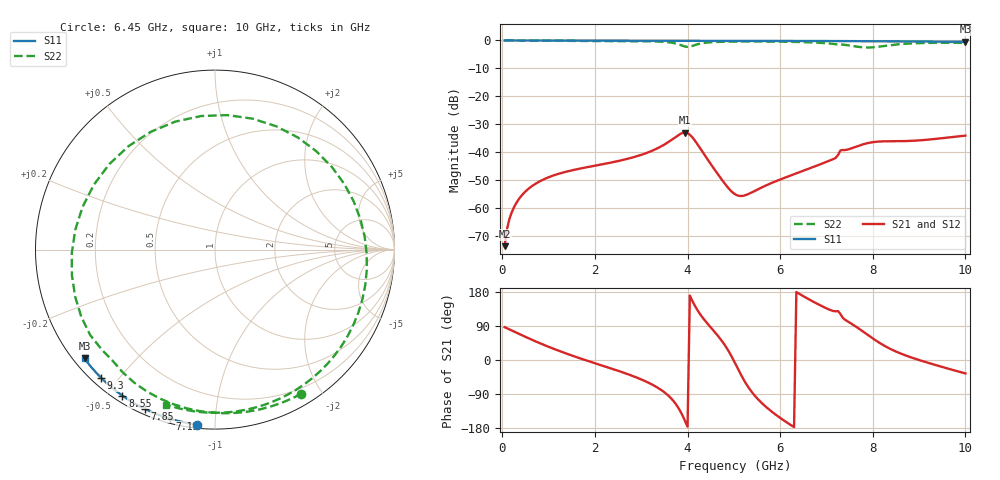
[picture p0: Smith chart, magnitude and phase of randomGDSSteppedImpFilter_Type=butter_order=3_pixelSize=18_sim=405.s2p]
! freq	dB(S11)	phase(S11)	dB(S12)	phase(S12)
!  dB(S21)	phase(S21)	dB(S22)	phase(S22)
!S-par simulation data
#  GHz  S  DB  R 50
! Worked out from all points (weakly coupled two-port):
!   200 points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, 50 MHz to 10 GHz, reference 50 ohm
!   highest |S21| = -33.05 dB at 3.95 GHz (marker M1); lowest = -73.8 dB at 50 MHz (marker M2)
!   lowest |S11| = -0.5 dB at 10 GHz (marker M3), VSWR 36.60, Z = 1.55 - j18.1 ohm
!   |S11| at or under -10 dB: nowhere
!   |S22| runs from -2.5 to 0.0 dB; largest |S21 - S12| = 0
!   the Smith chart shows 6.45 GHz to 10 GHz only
!   S11 on the Smith chart (normalised r, x): 6.45 GHz: 0.02, -0.90; 7.15 GHz: 0.02, -0.77; 7.85 GHz: 0.02, -0.65; 8.55 GHz: 0.02, -0.55; 9.3 GHz: 0.03, -0.45; 10 GHz: 0.03, -0.36
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0.05  -0.00 -0.8  -73.81 86.6  -73.81 86.6  -0.00 -5.1
0.3  -0.01 -4.9  -58.39 72.4  -58.39 72.4  -0.04 -30.3
0.85  -0.02 -13.7  -50.19 42.4  -50.19 42.4  -0.10 -82.3
1.75  -0.04 -28.0  -45.73 1.5  -45.73 1.5  -0.15 -155.2
2.55  -0.05 -40.4  -43.09 -30.5  -43.09 -30.5  -0.20 146.8
3.4  -0.07 -53.3  -38.28 -76.5  -38.28 -76.5  -0.42 71.2
3.75  -0.08 -58.4  -34.53 -116.7  -34.53 -116.7  -1.12 5.9
3.95  -0.09 -61.3  -33.05 -161.9  -33.05 -161.9  -2.21 -78.5
4.1  -0.09 -63.5  -34.67 157.1  -34.67 157.1  -1.98 -158.9
4.2  -0.09 -64.9  -36.89 134.4  -36.89 134.4  -1.44 161.4
4.5  -0.10 -69.2  -44.31 86.3  -44.31 86.3  -0.65 97.1
5.05  -0.12 -76.9  -55.40 -13.9  -55.40 -13.9  -0.40 40.6
5.7  -0.14 -85.8  -51.98 -124.4  -51.98 -124.4  -0.40 -7.1
6.45  -0.18 -95.8  -47.08 172.0  -47.08 172.0  -0.58 -59.1
6.7  -0.19 -99.0  -45.51 154.8  -45.51 154.8  -0.71 -78.3
7.15  -0.22 -104.8  -42.55 129.2  -42.55 129.2  -1.24 -121.2
7.55  -0.25 -109.9  -38.64 94.9  -38.64 94.9  -1.96 -178.7
7.85  -0.27 -113.7  -36.99 69.9  -36.99 69.9  -2.53 118.6
8.35  -0.31 -119.9  -36.17 31.1  -36.17 31.1  -1.74 19.1
8.55  -0.32 -122.4  -36.15 19.7  -36.15 19.7  -1.38 -7.6
9.3  -0.40 -131.6  -35.42 -11.3  -35.42 -11.3  -0.85 -69.5
10  -0.47 -140.1  -34.15 -35.4  -34.15 -35.4  -0.86 -107.5
